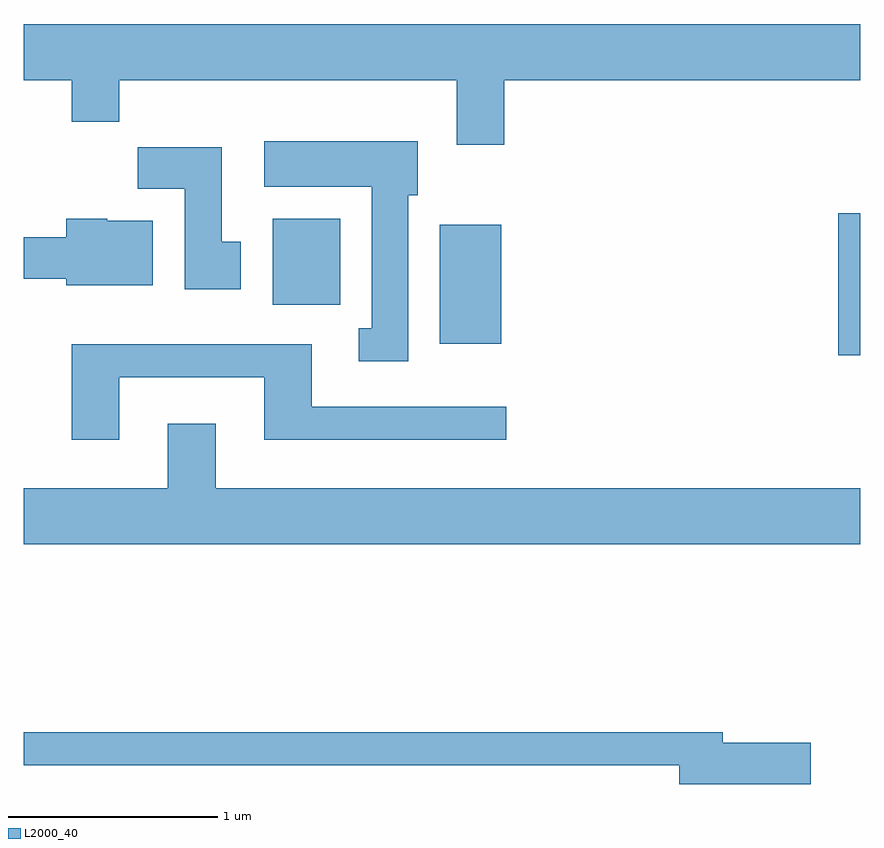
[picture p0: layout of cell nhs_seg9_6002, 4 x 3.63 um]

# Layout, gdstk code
import gdstk
lib = gdstk.Library(unit=1e-6, precision=1e-09)
def R(c, l, rs):  # rectangles x0, y0, x1, y1
    for r in rs: c.add(gdstk.rectangle(r[:2], r[2:], *l))
def P(c, l, *ps):  # polygons
    for p in ps: c.add(gdstk.Polygon(p, *l))
L2000_40 = (2000, 40)

nhs_seg9_6002 = lib.new_cell('nhs_seg9_6002')
R(nhs_seg9_6002, L2000_40, [(365.506,2052.661,365.611,2053.339), (363.601,2052.716,363.894,2053.284), (362.801,2052.901,363.124,2053.314)])
P(nhs_seg9_6002, L2000_40, [(363.909,2053.976),(365.611,2053.976),(365.611,2054.244),(361.611,2054.244),(361.611,2053.976),(361.841,2053.976),(361.841,2053.776),(362.069,2053.776),(362.069,2053.976),(363.681,2053.976),(363.681,2053.666),(363.909,2053.666)],
  [(363.449,2053.426),(363.494,2053.426),(363.494,2053.684),(362.761,2053.684),(362.761,2053.466),(363.276,2053.466),(363.276,2052.789),(363.213,2052.789),(363.213,2052.631),(363.449,2052.631)],
  [(362.649,2053.204),(362.559,2053.204),(362.559,2053.654),(362.156,2053.654),(362.156,2053.456),(362.381,2053.456),(362.381,2052.976),(362.649,2052.976)],
  [(362.229,2053.304),(362.01,2053.304),(362.01,2053.314),(361.816,2053.314),(361.816,2053.224),(361.611,2053.224),(361.611,2053.026),(361.816,2053.026),(361.816,2052.996),(362.229,2052.996)],
  [(362.069,2052.556),(362.761,2052.556),(362.761,2052.256),(363.918,2052.256),(363.918,2052.414),(362.989,2052.414),(362.989,2052.714),(361.841,2052.714),(361.841,2052.256),(362.069,2052.256)],
  [(365.611,2052.024),(362.529,2052.024),(362.529,2052.334),(362.301,2052.334),(362.301,2052.024),(361.611,2052.024),(361.611,2051.756),(365.611,2051.756)],
  [(365.374,2050.809),(364.954,2050.809),(364.954,2050.859),(361.611,2050.859),(361.611,2050.701),(364.746,2050.701),(364.746,2050.611),(365.374,2050.611)])

lib.write_gds('nhs_seg9_6002.gds')
